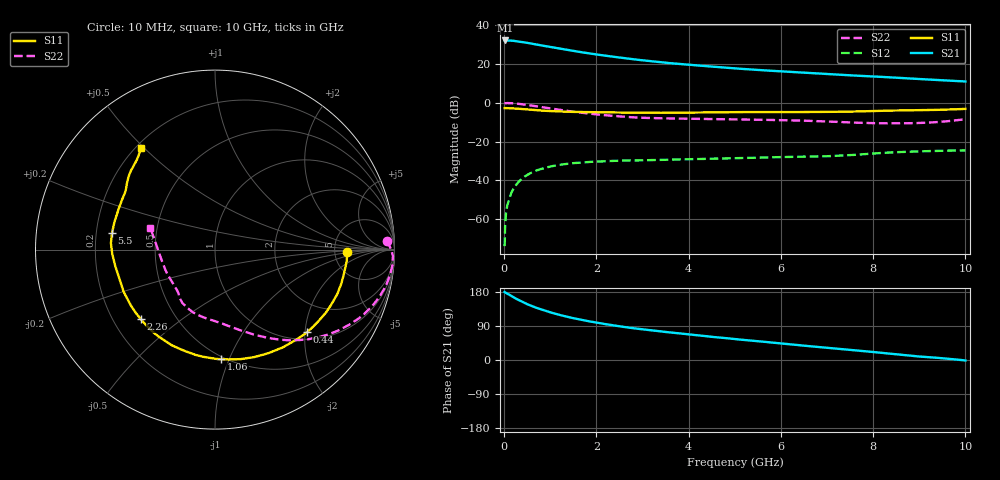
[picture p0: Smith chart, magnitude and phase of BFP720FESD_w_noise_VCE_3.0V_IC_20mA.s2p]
! Infineon Technologies  Discrete & RF Semiconductors
! BFP720FESD
! VCE =  3.0 V,  IC =  20 mA
! Common Emitter S-Parameters:  Jan 2016
# GHz  S  MA  R  50
!  f  S11  S21  S12  S22
! GHz  MAG  ANG  MAG  ANG  MAG  ANG  MAG  ANG
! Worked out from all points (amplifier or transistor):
!   233 points, 10 MHz to 10 GHz, reference 50 ohm
!   highest |S21| = 32.3 dB at 20 MHz (marker M1)
!   |S21| within 3 dB of that: start of sweep to 912.1 MHz
!   unconditionally stable (mu >= 1): start of sweep to 12.86 MHz; 5.664 GHz to end of sweep
!   at 200 MHz: K = 0.09, MSG = 38.3 dB, |S12| = -44.4 dB
!   at 1.74 GHz: K = 0.43, MSG = 28.3 dB, |S12| = -30.7 dB
!   at 10 GHz: K = 1.16, MAG = 15.4 dB, |S12| = -24.5 dB
!   lowest NFmin = 0.95 dB at 450 MHz
!   S11 on the Smith chart (normalised r, x): 10 MHz: 6.54, -0.44; 440 MHz: 1.17, -2.05; 1.06 GHz: 0.48, -0.94; 2.26 GHz: 0.32, -0.36; 5.5 GHz: 0.27, +0.07; 10 GHz: 0.22, +0.49
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0.01  0.7359 -1.2  41.04 179.6  0.0002 -168.4  0.9607 3.0
0.02  0.736 -1.9  41.05 178.2  0.0006 95.6  0.9828 -0.2
0.1  0.7319 -10.1  40.95 173.1  0.003 84.4  0.9919 -5.2
0.2  0.725 -20.0  40.22 165.9  0.006 79.7  0.9762 -11.0
0.3  0.7108 -29.6  38.9 159.1  0.0088 75.5  0.9514 -16.3
0.44  0.6885 -41.9  36.61 150.8  0.0124 69.7  0.9079 -22.9
0.6  0.6633 -55.1  33.9 142.2  0.016 63.8  0.8537 -29.6
0.7  0.6492 -62.8  32.3 137.7  0.018 60.5  0.8203 -33.4
0.9  0.6267 -76.8  29.24 129.5  0.0213 54.9  0.7555 -40.3
1.06  0.6115 -86.8  27.03 123.8  0.0235 50.7  0.7063 -45.2
1.4  0.5908 -105.4  23.01 113.0  0.027 43.9  0.6153 -54.5
1.68  0.5807 -117.5  20.37 105.8  0.029 39.7  0.5572 -60.9
1.98  0.5735 -128.1  17.99 99.1  0.0305 36.3  0.5091 -66.9
2.26  0.5666 -136.7  16.19 93.4  0.0315 33.7  0.4735 -72.1
2.8  0.5602 -151.0  13.43 83.9  0.0328 30.4  0.4248 -81.7
3.4  0.5566 -162.0  11.23 75.5  0.0337 29.7  0.4013 -88.7
4.1  0.5649 -172.4  9.476 66.4  0.0353 29.6  0.3889 -95.4
5.1  0.5806 175.3  7.651 54.1  0.0376 29.8  0.3745 -106.1
5.5  0.5809 170.8  7.09 49.5  0.0386 30.0  0.3697 -109.8
6.8  0.5848 154.3  5.763 34.5  0.0416 31.7  0.3387 -124.4
8.4  0.6351 138.7  4.556 16.3  0.0528 33.8  0.2983 -151.6
10  0.701 125.9  3.587 -1.2  0.0596 26.7  0.3789 161.7
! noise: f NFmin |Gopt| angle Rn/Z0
0.45  0.95  0.04  -26  0.11
2.4  0.98  0.01  142  0.12
5.5  1.11  0.17  145  0.11
10  1.56  0.29  -128  0.15
